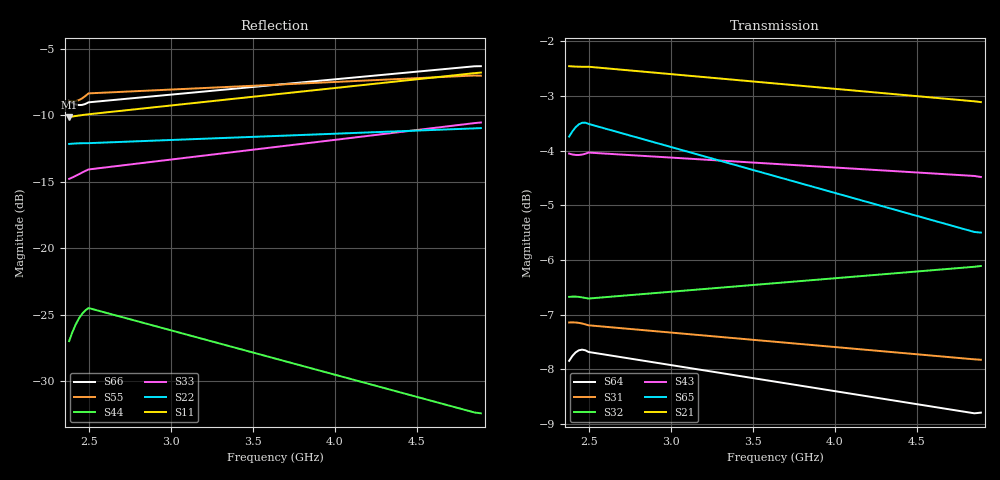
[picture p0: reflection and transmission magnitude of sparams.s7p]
! MTH R7A 7-port EM extraction (fieldsolve), rows near 2.40/2.44/2.48/4.88 GHz only: test fixture
# Hz S RI R 50
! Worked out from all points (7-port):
!   10 points, 2.377 GHz to 4.891 GHz, reference 50 ohm
!   strongest paths, dB at 2.377 GHz, 2.417 GHz, 2.476 GHz, 4.852 GHz, 4.891 GHz:
!     S21: -2.5, -2.5, -2.5, -3.1, -3.1
!     S65: -3.7, -3.6, -3.5, -5.5, -5.5
!     S43: -4.1, -4.1, -4.1, -4.5, -4.5
!     S32: -6.7, -6.7, -6.7, -6.1, -6.1
!     S31: -7.1, -7.1, -7.2, -7.8, -7.8
!     S64: -7.8, -7.7, -7.7, -8.8, -8.8
!   lowest |S11| = -10.1 dB at 2.377 GHz (marker M1), VSWR 1.90, Z = 33.5 + j21.1 ohm
!   |S11| at or under -10 dB: start of sweep to 2.446 GHz
